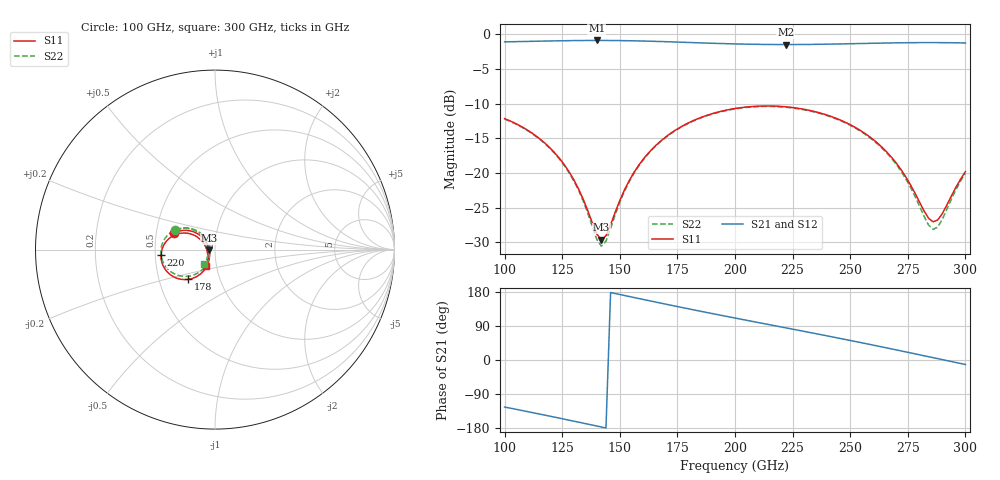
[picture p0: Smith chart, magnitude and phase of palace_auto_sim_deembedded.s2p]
! Created with skrf 1.11.0 (http://scikit-rf.org).
# GHz S DB R 50.0
!freq dBS11 angS11 dBS21 angS21 dBS12 angS12 dBS22 angS22
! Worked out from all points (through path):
!   101 points, 100 GHz to 300 GHz, reference 50 ohm
!   highest |S21| = -0.88 dB at 140 GHz (marker M1); lowest = -1.5 dB at 222 GHz (marker M2)
!   group delay of S21, straight-line fit = 3.41 ps
!   lowest |S11| = -29.6 dB at 142 GHz (marker M3), VSWR 1.07, Z = 46.8 - j0.422 ohm
!   |S11| at or under -10 dB: start of sweep to end of sweep
!   |S22| runs from -30.5 to -10.4 dB; largest |S21 - S12| = 1e-13
!   S11 on the Smith chart (normalised r, x): 100 GHz: 0.62, +0.12; 178 GHz: 0.71, -0.25; 220 GHz: 0.54, -0.04; 300 GHz: 0.89, -0.16
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100  -12.15 158.2  -1.08 -124.1  -1.08 -124.1  -12.20 154.2
120  -16.48 139.7  -0.95 -148.7  -0.95 -148.7  -16.56 134.4
128  -19.83 136.1  -0.91 -158.8  -0.91 -158.8  -19.96 130.0
134  -23.68 140.2  -0.89 -166.5  -0.89 -166.5  -23.94 133.1
140  -28.79 167.8  -0.88 -174.2  -0.88 -174.2  -29.56 160.8
142  -29.62 -172.2  -0.88 -176.8  -0.88 -176.8  -30.55 -177.2
144  -29.03 -151.5  -0.88 -179.4  -0.88 -179.4  -29.83 -154.3
150  -23.95 -121.2  -0.90 172.9  -0.90 172.9  -24.21 -123.8
156  -19.99 -116.4  -0.93 165.1  -0.93 165.1  -20.11 -120.1
168  -15.31 -122.7  -1.04 149.8  -1.04 149.8  -15.38 -127.6
178  -13.07 -131.8  -1.15 137.3  -1.15 137.3  -13.13 -137.4
200  -10.69 -154.0  -1.38 110.7  -1.38 110.7  -10.75 -160.7
220  -10.39 -174.2  -1.47 87.3  -1.47 87.3  -10.46 178.1
222  -10.45 -176.2  -1.47 84.9  -1.47 84.9  -10.51 176.0
234  -11.09 171.9  -1.44 70.8  -1.44 70.8  -11.16 163.5
254  -13.77 153.4  -1.32 46.7  -1.32 46.7  -13.87 143.8
268  -17.75 144.9  -1.23 29.2  -1.23 29.2  -17.92 133.9
274  -20.48 145.8  -1.21 21.6  -1.21 21.6  -20.76 134.0
282  -25.43 164.5  -1.19 11.3  -1.19 11.3  -26.19 152.0
286  -27.03 -169.4  -1.19 6.2  -1.19 6.2  -28.13 -179.2
290  -25.84 -141.6  -1.20 1.0  -1.20 1.0  -26.65 -148.1
300  -19.79 -118.6  -1.24 -11.9  -1.24 -11.9  -20.01 -126.1
